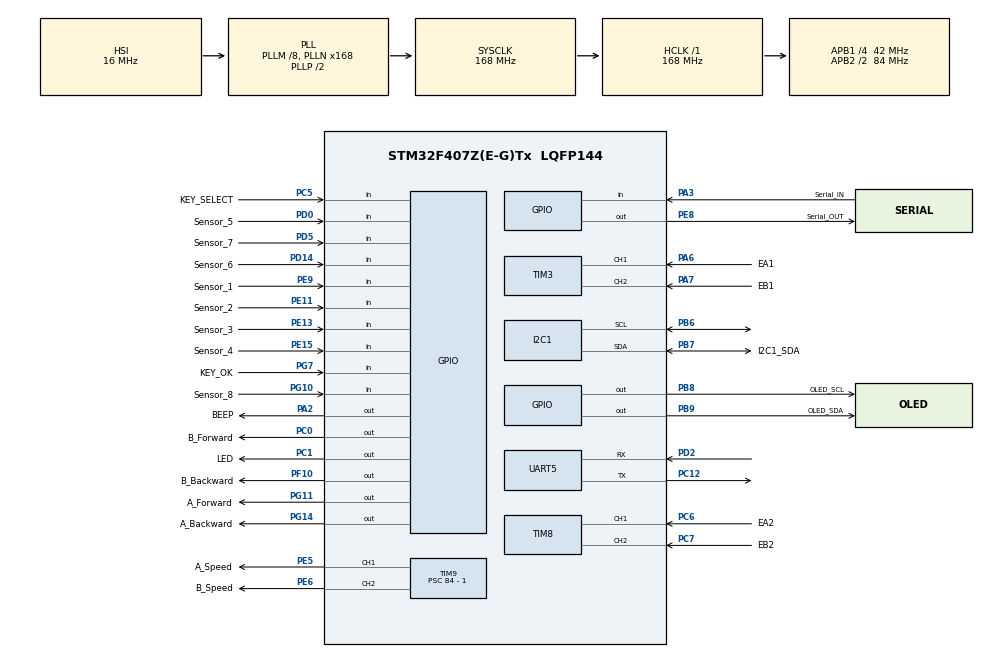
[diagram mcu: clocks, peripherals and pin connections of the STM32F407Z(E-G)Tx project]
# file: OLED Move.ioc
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Mcu.Family=STM32F4
Mcu.Name=STM32F407Z(E-G)Tx
Mcu.Package=LQFP144
NVIC.PriorityGroup=NVIC_PRIORITYGROUP_4
NVIC.TIM1_UP_TIM10_IRQn=true\:0\:0\:false\:false\:true\:true\:true\:true
NVIC.UART5_IRQn=true\:0\:0\:false\:false\:true\:true\:true\:true
PA13.Mode=Serial_Wire
PA13.Signal=SYS_JTMS-SWDIO
PA14.Mode=Serial_Wire
PA14.Signal=SYS_JTCK-SWCLK
PA2.GPIO_Label=BEEP
PA2.Signal=GPIO_Output
PA3.GPIO_Label=Serial_IN
PA3.GPIO_PuPd=GPIO_PULLDOWN
PA3.Signal=GPIO_Input
PA6.GPIO_Label=EA1
PA6.GPIO_PuPd=GPIO_PULLUP
PA6.Signal=S_TIM3_CH1
PA7.GPIO_Label=EB1
PA7.GPIO_PuPd=GPIO_PULLUP
PA7.Signal=S_TIM3_CH2
PB6.Mode=I2C
PB6.Signal=I2C1_SCL
PB7.GPIO_Label=I2C1_SDA
PB7.Mode=I2C
PB7.Signal=I2C1_SDA
PB8.GPIO_Label=OLED_SCL
PB8.Signal=GPIO_Output
PB9.GPIO_Label=OLED_SDA
PB9.Signal=GPIO_Output
PC0.GPIO_Label=B_Forward
PC0.Signal=GPIO_Output
PC1.GPIO_Label=LED
PC1.Signal=GPIO_Output
PC12.Mode=Asynchronous
PC12.Signal=UART5_TX
PC14-OSC32_IN.Mode=LSE-External-Oscillator
PC14-OSC32_IN.Signal=RCC_OSC32_IN
PC15-OSC32_OUT.Mode=LSE-External-Oscillator
PC15-OSC32_OUT.Signal=RCC_OSC32_OUT
PC5.GPIO_Label=KEY_SELECT
PC5.GPIO_PuPd=GPIO_PULLUP
PC5.Signal=GPIO_Input
PC6.GPIO_Label=EA2
PC6.GPIO_PuPd=GPIO_PULLUP
PC6.Signal=S_TIM8_CH1
PC7.GPIO_Label=EB2
PC7.GPIO_PuPd=GPIO_PULLUP
PC7.Signal=S_TIM8_CH2
PD0.GPIO_Label=Sensor_5
PD0.GPIO_PuPd=GPIO_PULLUP
PD0.Signal=GPIO_Input
PD14.GPIO_Label=Sensor_6
PD14.GPIO_PuPd=GPIO_PULLUP
PD14.Signal=GPIO_Input
PD2.Mode=Asynchronous
PD2.Signal=UART5_RX
PD5.GPIO_Label=Sensor_7
PD5.GPIO_PuPd=GPIO_PULLUP
PD5.Signal=GPIO_Input
PE11.GPIO_Label=Sensor_2
PE11.GPIO_PuPd=GPIO_PULLUP
PE11.Signal=GPIO_Input
PE13.GPIO_Label=Sensor_3
PE13.GPIO_PuPd=GPIO_PULLUP
PE13.Signal=GPIO_Input
PE15.GPIO_Label=Sensor_4
PE15.GPIO_PuPd=GPIO_PULLUP
PE15.Signal=GPIO_Input
PE5.GPIO_Label=A_Speed
PE5.Signal=S_TIM9_CH1
PE6.GPIO_Label=B_Speed
PE6.Signal=S_TIM9_CH2
PE8.GPIO_Label=Serial_OUT
PE8.Signal=GPIO_Output
PE9.GPIO_Label=Sensor_1
PE9.GPIO_PuPd=GPIO_PULLUP
PE9.Signal=GPIO_Input
PF10.GPIO_Label=B_Backward
PF10.Signal=GPIO_Output
PG10.GPIO_Label=Sensor_8
PG10.GPIO_PuPd=GPIO_PULLUP
PG10.Signal=GPIO_Input
PG11.GPIO_Label=A_Forward
PG11.Signal=GPIO_Output
PG14.GPIO_Label=A_Backward
PG14.Signal=GPIO_Output
PG7.GPIO_Label=KEY_OK
PG7.GPIO_PuPd=GPIO_PULLUP
PG7.Signal=GPIO_Input
PH0-OSC_IN.Mode=HSE-External-Oscillator
PH0-OSC_IN.Signal=RCC_OSC_IN
PH1-OSC_OUT.Mode=HSE-External-Oscillator
PH1-OSC_OUT.Signal=RCC_OSC_OUT
ProjectManager.HeapSize=0x200
ProjectManager.StackSize=0x400
ProjectManager.TargetToolchain=MDK-ARM V5.32
RCC.48MHZClocksFreq_Value=84000000
RCC.AHBFreq_Value=168000000
RCC.APB1CLKDivider=RCC_HCLK_DIV4
RCC.APB1Freq_Value=42000000
RCC.APB1TimFreq_Value=84000000
RCC.APB2CLKDivider=RCC_HCLK_DIV2
RCC.APB2Freq_Value=84000000
RCC.APB2TimFreq_Value=168000000
RCC.CortexFreq_Value=168000000
RCC.HCLKFreq_Value=168000000
RCC.HSE_VALUE=25000000
RCC.HSI_VALUE=16000000
RCC.PLLM=8
RCC.PLLN=168
RCC.SYSCLKFreq_VALUE=168000000
RCC.SYSCLKSource=RCC_SYSCLKSOURCE_PLLCLK
RCC.VCOOutputFreq_Value=336000000
SH.S_TIM3_CH1.0=TIM3_CH1,Encoder_Interface
SH.S_TIM3_CH2.0=TIM3_CH2,Encoder_Interface
SH.S_TIM8_CH1.0=TIM8_CH1,Encoder_Interface
SH.S_TIM8_CH2.0=TIM8_CH2,Encoder_Interface
SH.S_TIM9_CH1.0=TIM9_CH1,PWM Generation1 CH1
SH.S_TIM9_CH2.0=TIM9_CH2,PWM Generation2 CH2
TIM10.Period=10000-1
TIM10.Prescaler=84 - 1
TIM3.EncoderMode=TIM_ENCODERMODE_TI12
TIM8.EncoderMode=TIM_ENCODERMODE_TI12
TIM9.Channel-PWM\ Generation1\ CH1=TIM_CHANNEL_1
TIM9.Channel-PWM\ Generation2\ CH2=TIM_CHANNEL_2
TIM9.Period=1000 - 1
TIM9.Prescaler=84 - 1
TIM9.Pulse-PWM\ Generation1\ CH1=500
UART5.VirtualMode=Asynchronous
VP_TIM10_VS_ClockSourceINT.Mode=Enable_Timer
VP_TIM9_VS_ClockSourceINT.Mode=Internal
board=custom

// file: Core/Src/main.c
/* USER CODE BEGIN Header */
/**
  ******************************************************************************
  * @file           : main.c
  * @brief          : Main program body
  ******************************************************************************
  * @attention
  *
  * Copyright (c) 2025 STMicroelectronics.
  * All rights reserved.
  *
  * This software is licensed under terms that can be found in the LICENSE file
  * in the root directory of this software component.
  * If no LICENSE file comes with this software, it is provided AS-IS.
  *
  ******************************************************************************
  */
/* USER CODE END Header */
#include "main.h"
#include "i2c.h"
#include "tim.h"
#include "usart.h"
#include "gpio.h"

/* USER CODE BEGIN Includes */
#include "stm32f4xx_hal.h"
#include "OLED.h"
#include "OLED_Menu.h"
#include "MPU6050.h"
#include <stdio.h>
#include <string.h>
#include "MotorDriver.h"
#include "Encoder.h"
#include "PID.h"
#include "Sensor.h"
#include "Motion_control.h"
#include "Odometry.h"
#include "Alert.h"

/* USER CODE END Includes */

/* USER CODE BEGIN PV */
// --- 动作控制相关变量 ---
volatile float g_pitch, g_roll, g_yaw;
volatile float g_ax_g, g_ay_g, g_az_g;
volatile float g_gx_dps, g_gy_dps, g_gz_dps;
volatile int32_t g_display_speed_left = 0;
volatile int32_t g_display_speed_right = 0;
volatile int32_t g_display_counts_left = 0;
volatile int32_t g_display_counts_right = 0;

int turn_index = 0;
int turn_total = 4;

// --- 串口通信接口变量 ---
#define RX_BUFFER_SIZE 64
uint8_t uart_rx_buffer[RX_BUFFER_SIZE]; // 接收缓冲区
uint8_t rx_data; // 单个字节接收变量
volatile uint16_t rx_index = 0;
volatile uint8_t command_ready = 0; // 指令接收完成标志

/* USER CODE END PV */

void SystemClock_Config(void);

/* USER CODE BEGIN 0 */
// 回调函数，用于将 Motion_Get_PID 格式化的字符串通过串口发送
void send_pid_str(const char* str)
{
    HAL_UART_Transmit(&huart5, (uint8_t*)str, strlen(str), 100);
}

/* USER CODE END 0 */

int main(void)
{

  /* MCU Configuration--------------------------------------------------------*/

  /* Reset of all peripherals, Initializes the Flash interface and the Systick. */
  HAL_Init();

  /* Configure the system clock */
  SystemClock_Config();

  /* Initialize all configured peripherals */
  MX_GPIO_Init();
  MX_I2C1_Init();
  MX_TIM9_Init();
  MX_TIM3_Init();
  MX_TIM8_Init();
  MX_UART5_Init();
  MX_TIM10_Init();
  /* USER CODE BEGIN 2 */
	OLED_Init();
  Motor_Init();
  Encoder_Init();
  Motion_Init();
	Serial_Sensor_Init();
  Alert_Init();
	int ret = 0;
	do {
		ret = MPU6050_DMP_init();
		char ret_buf[16];
		sprintf(ret_buf, "ret=%d\r\n", ret);
		HAL_UART_Transmit(&huart5, (uint8_t*)ret_buf, strlen(ret_buf), 100);
	}while(ret);

    // --- 在启动高频中断前，给MPU6050一点稳定时间 ---
    HAL_Delay(100);

  	// --- 启动10ms定时器中断，开始闭环控制 ---
	HAL_TIM_Base_Start_IT(&htim10);

	// --- 启动UART接收中断 ---
	HAL_UART_Receive_IT(&huart5, &rx_data, 1);

  // Motion_Go_Straight_Start(30, 6500);
  /* USER CODE END 2 */

  /* Infinite loop */
  /* USER CODE BEGIN WHILE */
  while (1)
  {
     Alert_Update();

     Menu_Handler();
    static uint32_t last_report_time = 0;
   if (HAL_GetTick() - last_report_time >= 100)
   {
       last_report_time = HAL_GetTick();
       char report_buf[128];
       Pose_t pose;
       Odometry_Get_Pose(&pose);
       // 发送当前坐标和yaw角
       snprintf(report_buf, sizeof(report_buf), "X:%.2f Y:%.2f Yaw:%.2f\r\n", pose.x, pose.y, g_yaw);
       HAL_UART_Transmit(&huart5, (uint8_t*)report_buf, strlen(report_buf), 100);
   }

    /* USER CODE END WHILE */

  }
}

void SystemClock_Config(void)
{
  RCC_OscInitTypeDef RCC_OscInitStruct = {0};
  RCC_ClkInitTypeDef RCC_ClkInitStruct = {0};

  /** Configure the main internal regulator output voltage
  */
  __HAL_RCC_PWR_CLK_ENABLE();
  __HAL_PWR_VOLTAGESCALING_CONFIG(PWR_REGULATOR_VOLTAGE_SCALE1);

  /** Initializes the RCC Oscillators according to the specified parameters
  * in the RCC_OscInitTypeDef structure.
  */
  RCC_OscInitStruct.OscillatorType = RCC_OSCILLATORTYPE_HSI;
  RCC_OscInitStruct.HSIState = RCC_HSI_ON;
  RCC_OscInitStruct.HSICalibrationValue = RCC_HSICALIBRATION_DEFAULT;
  RCC_OscInitStruct.PLL.PLLState = RCC_PLL_ON;
  RCC_OscInitStruct.PLL.PLLSource = RCC_PLLSOURCE_HSI;
  RCC_OscInitStruct.PLL.PLLM = 8;
  RCC_OscInitStruct.PLL.PLLN = 168;
  RCC_OscInitStruct.PLL.PLLP = RCC_PLLP_DIV2;
  RCC_OscInitStruct.PLL.PLLQ = 4;
  if (HAL_RCC_OscConfig(&RCC_OscInitStruct) != HAL_OK)
  {
    Error_Handler();
  }

  /** Initializes the CPU, AHB and APB buses clocks
  */
  RCC_ClkInitStruct.ClockType = RCC_CLOCKTYPE_HCLK|RCC_CLOCKTYPE_SYSCLK
                              |RCC_CLOCKTYPE_PCLK1|RCC_CLOCKTYPE_PCLK2;
  RCC_ClkInitStruct.SYSCLKSource = RCC_SYSCLKSOURCE_PLLCLK;
  RCC_ClkInitStruct.AHBCLKDivider = RCC_SYSCLK_DIV1;
  RCC_ClkInitStruct.APB1CLKDivider = RCC_HCLK_DIV4;
  RCC_ClkInitStruct.APB2CLKDivider = RCC_HCLK_DIV2;

  if (HAL_RCC_ClockConfig(&RCC_ClkInitStruct, FLASH_LATENCY_5) != HAL_OK)
  {
    Error_Handler();
  }
}

/* USER CODE BEGIN 4 */
/**
  * @brief  定时器周期溢出回调函数
  * @note   此函数在定时器中断中被调用，用于执行周期性任务，例如PID控制
  * @param  htim: 定时器句柄指针
  * @retval None
  */
void HAL_TIM_PeriodElapsedCallback(TIM_HandleTypeDef *htim)
{

	if (htim->Instance == TIM10) {
		// 获取MPU6050的所有数据，包括Z轴角速度
		MPU6050_Get_All_Data(&g_pitch, &g_roll, &g_yaw, &g_ax_g, &g_ay_g, &g_az_g, &g_gx_dps, &g_gy_dps, &g_gz_dps);

    Motion_Update_In_Interrupt();

	}

}

void HAL_UART_RxCpltCallback(UART_HandleTypeDef *huart)
{
    // 确保是UART5触发的中断
    if(huart->Instance == UART5)
    {
        // 检查是否接收到指令结束符 (回车)
        if(rx_data == '\r' || rx_data == '\n')
        {
            if(rx_index > 0) // 确保不是空指令
            {
                uart_rx_buffer[rx_index] = '\0'; // 添加字符串结束符
                command_ready = 1; // 设置指令就绪标志
            }
        }
        else
        {
            // 将接收到的数据存入缓冲区
            if(rx_index < RX_BUFFER_SIZE - 1)
            {
                uart_rx_buffer[rx_index++] = rx_data;
            }
        }
        // 重新启动UART接收中断，准备接收下一个字节
        HAL_UART_Receive_IT(&huart5, &rx_data, 1);
    }
}
/* USER CODE END 4 */

void Error_Handler(void)
{
  __disable_irq();
  while (1)
  {
  }
}
